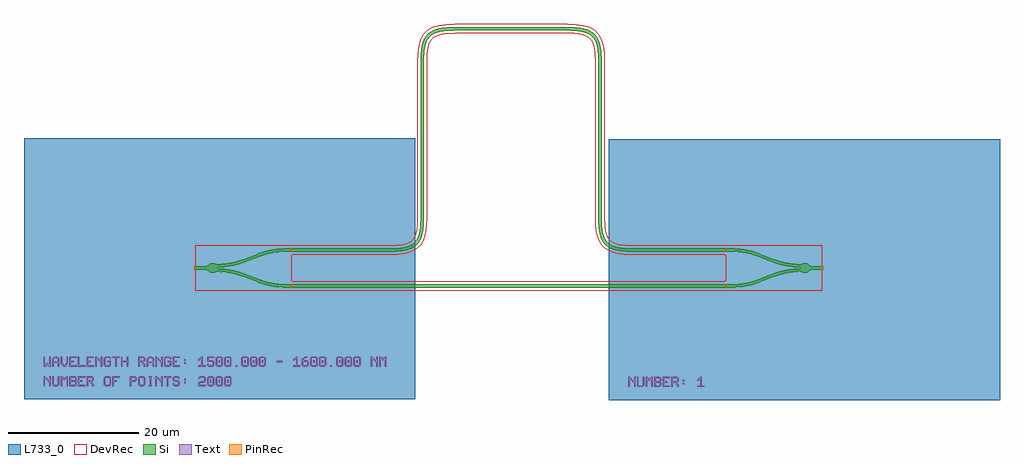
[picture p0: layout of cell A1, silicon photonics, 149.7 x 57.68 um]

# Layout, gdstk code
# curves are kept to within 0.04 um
from math import pi, radians
import gdstk
lib = gdstk.Library(unit=1e-6, precision=1e-09)
def R(c, l, rs):  # rectangles x0, y0, x1, y1
    for r in rs: c.add(gdstk.rectangle(r[:2], r[2:], *l))
def A(c, l, x, y, w, h, nx, ny, dx, dy):  # array of equal rectangles
    R(c, l, [(x+i*dx, y+j*dy, x+i*dx+w, y+j*dy+h) for i in range(nx) for j in range(ny)])
def P(c, l, *ps):  # polygons
    for p in ps: c.add(gdstk.Polygon(p, *l))
Si = (1, 0)
PinRec = (1, 10)
Text = (10, 0)
DevRec = (68, 0)
L733_0 = (733, 0)

ybranch_compact = lib.new_cell('YBranch_Compact')
R(ybranch_compact, Si, [(14,-3,14.9,-2.5), (0.1,-0.25,1.5,0.25), (14,2.5,14.9,3)])
P(ybranch_compact, Si, [(13.958,-3),(13.737,-2.997),(13.737,-2.497),(14,-2.5),(14,-3)],
  [(12.533,-2.908),(11.09,-2.634),(9.765,-2.21),(9.945,-1.744),(11.231,-2.154),(12.533,-2.404)],
  [(13.733,-2.997),(12.533,-2.908),(12.533,-2.404),(13.737,-2.497)],
  [(9.765,-2.21),(7.555,-1.356),(7.735,-0.89),(9.945,-1.744)],
  [(6.738,-1.076),(5.166,-0.724),(3.5,-0.6),(3.5,-0.1),(5.119,-0.212),(6.738,-0.555)],
  [(7.555,-1.356),(6.738,-1.076),(6.738,-0.555),(7.735,-0.89)],
  [(13.737,2.497),(13.737,2.997),(14,3),(14,2.5)],
  [(9.945,1.744),(9.767,2.211),(11.09,2.634),(12.533,2.908),(12.533,2.404),(11.231,2.154)],
  [(12.533,2.404),(12.533,2.908),(13.737,2.997),(13.737,2.497)],
  [(7.735,0.89),(7.555,1.356),(9.765,2.21),(9.945,1.744)],
  [(3.5,0.1),(3.5,0.6),(5.166,0.724),(6.738,1.076),(6.738,0.555),(5.119,0.212)],
  [(6.738,0.555),(6.738,1.076),(7.555,1.356),(7.735,0.89)],
  [(2.378,-0.662),(2.058,-0.374),(1.692,-0.255),(1.5,-0.25),(1.5,0.25),(1.683,0.253),(2.058,0.374),(2.378,0.662)],
  [(2.543,-0.703),(2.378,-0.662),(2.378,0.662),(2.962,0.703),(3.5,0.6),(3.5,-0.6),(2.991,-0.701)])
ybranch_compact.add(gdstk.Label('Ref: Y Zhang, Opt. Express, 21/1, 2013', (0,-1), layer=10, texttype=0))

ebeam_y_1550 = lib.new_cell('ebeam_y_1550')
R(ebeam_y_1550, DevRec, [(-7.4,-3.5,7.4,3.5)])
ebeam_y_1550.add(gdstk.FlexPath([(7.3,2.75),(7.5,2.75)], 0.5, ends="flush", simple_path=True, layer=1, datatype=10))  # PinRec
ebeam_y_1550.add(gdstk.FlexPath([(7.3,-2.75),(7.5,-2.75)], 0.5, ends="flush", simple_path=True, layer=1, datatype=10))  # PinRec
ebeam_y_1550.add(gdstk.FlexPath([(-7.3,0),(-7.5,0)], 0.5, ends="flush", simple_path=True, layer=1, datatype=10))  # PinRec
ebeam_y_1550.add(gdstk.Reference(ybranch_compact, (-7.5,0)))
ebeam_y_1550.add(gdstk.Label('pin2', (7.4,2.75), layer=1, texttype=10))
ebeam_y_1550.add(gdstk.Label('pin3', (7.4,-2.75), layer=1, texttype=10))
ebeam_y_1550.add(gdstk.Label('pin1', (-7.4,0), layer=1, texttype=10))
ebeam_y_1550.add(gdstk.Label('Component=ebeam_y_1550', (-6,1.5), layer=68, texttype=0))
ebeam_y_1550.add(gdstk.Label('Lumerical_INTERCONNECT_library=Design kits/ebeam', (-6.86,-2.19), layer=68, texttype=0))

waveguide = lib.new_cell('Waveguide')
R(waveguide, Si, [(2433.08,3497.28,2499.7,3497.78)])
R(waveguide, DevRec, [(2433.08,3496.78,2499.7,3498.28)])
waveguide.add(gdstk.FlexPath([(2433.13,3497.53),(2433.03,3497.53)], 0.5, ends="flush", simple_path=True, layer=1, datatype=10))  # PinRec
waveguide.add(gdstk.FlexPath([(2499.65,3497.53),(2499.75,3497.53)], 0.5, ends="flush", simple_path=True, layer=1, datatype=10))  # PinRec
waveguide.add(gdstk.Label('pin1', (2433.08,3497.53), layer=1, texttype=10))
waveguide.add(gdstk.Label('pin2', (2499.7,3497.53), layer=1, texttype=10))
waveguide.add(gdstk.Label('Lumerical_INTERCONNECT_library=Design kits/ebeam', (2433.08,3497.53), layer=68, texttype=0))
waveguide.add(gdstk.Label('Component=ebeam_wg_integral_1550', (2433.08,3498.03), layer=68, texttype=0))
waveguide.add(gdstk.Label('Spice_param:wg_length=66.620u wg_width=0.500u points="[[2433.08,3497.53],[2499.7,3497.53]]" radius=5.0', (2433.08,3497.03), layer=68, texttype=0))

waveguide_1 = lib.new_cell('Waveguide$1')
P(waveguide_1, Si, [(2433.08,3502.78),(2433.08,3503.28),(2448.239,3503.28),(2449.424,3503.326),(2450.473,3503.478),(2451.162,3503.694),(2451.748,3504.034),(2452.186,3504.495),(2452.455,3504.987),(2452.671,3505.676),(2452.796,3506.438),(2452.862,3507.453),(2452.87,3532.081),(2452.902,3533.098),(2453.028,3534.165),(2453.239,3534.978),(2453.526,3535.599),(2453.917,3536.111),(2454.48,3536.553),(2455.101,3536.84),(2455.914,3537.051),(2456.981,3537.177),(2458.117,3537.21),(2476.194,3537.195),(2477.219,3537.11),(2478.089,3536.938),(2478.825,3536.66),(2479.373,3536.304),(2479.854,3535.783),(2480.233,3535.055),(2480.471,3534.166),(2480.597,3533.099),(2480.637,3507.454),(2480.703,3506.439),(2480.828,3505.677),(2480.994,3505.112),(2481.247,3504.596),(2481.706,3504.071),(2482.337,3503.695),(2483.183,3503.446),(2484.173,3503.319),(2499.7,3503.28),(2499.7,3502.78),(2484.455,3502.801),(2483.174,3502.939),(2482.141,3503.235),(2481.386,3503.687),(2480.825,3504.328),(2480.526,3504.936),(2480.34,3505.567),(2480.196,3506.484),(2480.137,3507.44),(2480.109,3532.859),(2479.995,3533.992),(2479.788,3534.815),(2479.479,3535.446),(2479.053,3535.92),(2478.542,3536.242),(2477.957,3536.456),(2477.151,3536.614),(2476.174,3536.695),(2458.12,3536.71),(2456.913,3536.671),(2456.088,3536.575),(2455.401,3536.414),(2454.736,3536.123),(2454.277,3535.763),(2453.925,3535.29),(2453.665,3534.678),(2453.504,3533.991),(2453.37,3532.079),(2453.362,3507.439),(2453.281,3506.286),(2453.139,3505.481),(2452.915,3504.791),(2452.551,3504.148),(2452.001,3503.598),(2451.287,3503.205),(2450.325,3502.938),(2449.258,3502.812)])
P(waveguide_1, DevRec, [(2433.08,3502.28),(2433.08,3503.78),(2449.287,3503.817),(2450.218,3503.936),(2450.914,3504.133),(2451.403,3504.4),(2451.749,3504.746),(2452.016,3505.235),(2452.213,3505.931),(2452.332,3506.862),(2452.37,3508.03),(2452.37,3531.961),(2452.411,3533.241),(2452.554,3534.35),(2452.831,3535.314),(2453.286,3536.139),(2453.94,3536.793),(2454.765,3537.248),(2455.729,3537.525),(2456.838,3537.668),(2458.095,3537.71),(2476.661,3537.669),(2477.77,3537.526),(2478.734,3537.249),(2479.559,3536.794),(2480.213,3536.14),(2480.668,3535.315),(2480.945,3534.351),(2481.088,3533.242),(2481.13,3508.031),(2481.167,3506.863),(2481.286,3505.932),(2481.483,3505.236),(2481.75,3504.747),(2482.096,3504.401),(2482.585,3504.134),(2483.281,3503.937),(2484.212,3503.818),(2499.7,3503.78),(2499.7,3502.28),(2485.355,3502.28),(2484.098,3502.322),(2482.989,3502.465),(2482.025,3502.742),(2481.2,3503.197),(2480.546,3503.851),(2480.091,3504.676),(2479.814,3505.64),(2479.671,3506.749),(2479.592,3533.128),(2479.473,3534.059),(2479.276,3534.755),(2479.009,3535.244),(2478.663,3535.59),(2478.174,3535.857),(2477.478,3536.054),(2476.547,3536.173),(2475.378,3536.21),(2458.12,3536.21),(2456.952,3536.172),(2456.021,3536.053),(2455.325,3535.856),(2454.836,3535.589),(2454.49,3535.243),(2454.223,3534.754),(2454.026,3534.058),(2453.907,3533.127),(2453.87,3531.959),(2453.828,3506.748),(2453.685,3505.639),(2453.408,3504.675),(2452.953,3503.85),(2452.299,3503.196),(2451.474,3502.741),(2450.51,3502.464),(2449.401,3502.321)])
waveguide_1.add(gdstk.FlexPath([(2433.13,3503.03),(2433.03,3503.03)], 0.5, ends="flush", simple_path=True, layer=1, datatype=10))  # PinRec
waveguide_1.add(gdstk.FlexPath([(2499.65,3503.03),(2499.75,3503.03)], 0.5, ends="flush", simple_path=True, layer=1, datatype=10))  # PinRec
waveguide_1.add(gdstk.Label('pin1', (2433.08,3503.03), layer=1, texttype=10))
waveguide_1.add(gdstk.Label('pin2', (2499.7,3503.03), layer=1, texttype=10))
waveguide_1.add(gdstk.Label('Lumerical_INTERCONNECT_library=Design kits/ebeam', (2433.08,3503.03), layer=68, texttype=0))
waveguide_1.add(gdstk.Label('Component=ebeam_wg_integral_1550', (2433.08,3503.53), layer=68, texttype=0))
waveguide_1.add(gdstk.Label('Spice_param:wg_length=128.284u wg_width=0.500u points="[[2433.08,3503.03],[2453.12,3503.03],[2453.12,3536.96],[2480.38,3536.96],[2480.38,3503.03],[2499.7,3503.03]]" radius=5.0', (2433.08,3502.53), layer=68, texttype=0))

text = lib.new_cell('TEXT')
A(text, Text, 25.52, 0.55, 0.22, 0.44, 3, 1, 1.32, 0)
R(text, Text, [(21.56,0.44,21.78,0.66), (21.56,0.88,21.78,1.1)])
P(text, Text, [(0,0),(0,1.54),(0.22,1.54),(0.77,0.99),(0.88,0.99),(0.88,1.54),(1.1,1.54),(1.1,0),(0.88,0),(0.88,0.55),(0.33,1.1),(0.22,1.1),(0.22,0)],
  [(1.54,0),(1.32,0.22),(1.32,1.54),(1.54,1.54),(1.54,0.33),(1.65,0.22),(2.09,0.22),(2.2,0.33),(2.2,1.54),(2.42,1.54),(2.42,0.22),(2.2,0)],
  [(2.64,0),(2.64,1.54),(2.86,1.54),(3.08,1.32),(3.3,1.32),(3.52,1.54),(3.74,1.54),(3.74,0),(3.52,0),(3.52,1.1),(3.41,1.1),(3.19,0.88),(2.97,1.1),(2.86,1.1),(2.86,0)],
  [(3.96,0),(3.96,1.54),(4.84,1.54),(5.06,1.32),(4.18,1.32),(4.18,0.88),(4.73,0.88),(4.84,0.99),(4.84,1.21),(4.73,1.32),(5.06,1.32),(5.06,0.88),(4.95,0.77),(5.06,0.66),(4.18,0.66),(4.18,0.22),(4.73,0.22),(4.84,0.33),(4.84,0.55),(4.73,0.66),(5.06,0.66),(5.06,0.22),(4.84,0)],
  [(5.28,0),(5.28,1.54),(6.38,1.54),(6.38,1.32),(5.5,1.32),(5.5,0.88),(5.94,0.88),(5.94,0.66),(5.5,0.66),(5.5,0.22),(6.38,0.22),(6.38,0)],
  [(6.6,0),(6.6,1.54),(7.48,1.54),(7.7,1.32),(6.82,1.32),(6.82,0.88),(7.37,0.88),(7.48,0.99),(7.48,1.21),(7.37,1.32),(7.7,1.32),(7.7,0.88),(7.48,0.66),(7.48,0.55),(7.7,0.33),(7.7,0),(7.48,0),(7.48,0.22),(7.04,0.66),(6.82,0.66),(6.82,0)],
  [(9.46,0),(9.24,0.22),(9.24,1.32),(9.46,1.54),(10.12,1.54),(10.34,1.32),(10.34,0.77),(10.12,0.77),(10.12,1.21),(10.01,1.32),(9.57,1.32),(9.46,1.21),(9.46,0.33),(9.57,0.22),(10.01,0.22),(10.12,0.33),(10.12,0.77),(10.34,0.77),(10.34,0.22),(10.12,0)],
  [(10.56,0),(10.56,1.54),(11.66,1.54),(11.66,1.32),(10.78,1.32),(10.78,0.88),(11.22,0.88),(11.22,0.66),(10.78,0.66),(10.78,0)],
  [(13.2,0),(13.2,1.54),(14.08,1.54),(14.3,1.32),(14.3,0.88),(14.08,0.66),(13.42,0.66),(13.42,0.88),(13.97,0.88),(14.08,0.99),(14.08,1.21),(13.97,1.32),(13.42,1.32),(13.42,0)],
  [(14.74,0),(14.52,0.22),(14.52,1.32),(14.74,1.54),(15.4,1.54),(15.62,1.32),(15.62,0.77),(15.4,0.77),(15.4,1.21),(15.29,1.32),(14.85,1.32),(14.74,1.21),(14.74,0.33),(14.85,0.22),(15.29,0.22),(15.4,0.33),(15.4,0.77),(15.62,0.77),(15.62,0.22),(15.4,0)],
  [(16.17,0),(16.17,0.22),(16.28,0.22),(16.28,1.32),(16.17,1.32),(16.17,1.54),(16.61,1.54),(16.61,1.32),(16.5,1.32),(16.5,0.22),(16.61,0.22),(16.61,0)],
  [(17.16,0),(17.16,1.54),(17.38,1.54),(17.93,0.99),(18.04,0.99),(18.04,1.54),(18.26,1.54),(18.26,0),(18.04,0),(18.04,0.55),(17.49,1.1),(17.38,1.1),(17.38,0)],
  [(18.92,0),(18.92,1.32),(18.48,1.32),(18.48,1.54),(19.58,1.54),(19.58,1.32),(19.14,1.32),(19.14,0)],
  [(20.02,0),(19.8,0.22),(19.8,0.44),(20.02,0.44),(20.02,0.33),(20.13,0.22),(20.57,0.22),(20.68,0.33),(20.68,0.55),(20.57,0.66),(20.02,0.66),(19.8,0.88),(19.8,1.32),(20.02,1.54),(20.68,1.54),(20.9,1.32),(20.9,1.1),(20.68,1.1),(20.68,1.21),(20.57,1.32),(20.13,1.32),(20.02,1.21),(20.02,0.99),(20.13,0.88),(20.68,0.88),(20.9,0.66),(20.9,0.22),(20.68,0)],
  [(23.76,0),(23.76,0.55),(23.98,0.77),(24.53,0.77),(24.64,0.88),(24.64,1.21),(24.53,1.32),(24.09,1.32),(23.98,1.21),(23.98,1.1),(23.76,1.1),(23.76,1.32),(23.98,1.54),(24.64,1.54),(24.86,1.32),(24.86,0.77),(24.64,0.55),(24.09,0.55),(23.98,0.44),(23.98,0.22),(24.86,0.22),(24.86,0)],
  [(25.3,0),(25.08,0.22),(25.08,1.32),(25.3,1.54),(25.96,1.54),(26.18,1.32),(25.41,1.32),(25.3,1.21),(25.3,0.33),(25.41,0.22),(25.85,0.22),(25.96,0.33),(25.96,1.21),(25.85,1.32),(26.18,1.32),(26.18,0.22),(25.96,0)],
  [(26.62,0),(26.4,0.22),(26.4,1.32),(26.62,1.54),(27.28,1.54),(27.5,1.32),(26.73,1.32),(26.62,1.21),(26.62,0.33),(26.73,0.22),(27.17,0.22),(27.28,0.33),(27.28,1.21),(27.17,1.32),(27.5,1.32),(27.5,0.22),(27.28,0)],
  [(27.94,0),(27.72,0.22),(27.72,1.32),(27.94,1.54),(28.6,1.54),(28.82,1.32),(28.05,1.32),(27.94,1.21),(27.94,0.33),(28.05,0.22),(28.49,0.22),(28.6,0.33),(28.6,1.21),(28.49,1.32),(28.82,1.32),(28.82,0.22),(28.6,0)])

text_1 = lib.new_cell('TEXT$1')
A(text_1, Text, 30.8, 0.55, 0.22, 0.44, 3, 1, 1.32, 0)
A(text_1, Text, 45.32, 0.55, 0.22, 0.44, 3, 1, 1.32, 0)
R(text_1, Text, [(29.48,0,29.7,0.22), (44,0,44.22,0.22), (21.56,0.44,21.78,0.66), (26.84,0.55,27.06,0.99), (28.16,0.55,28.38,0.99), (41.36,0.55,41.58,0.99), (42.68,0.55,42.9,0.99), (35.75,0.66,36.63,0.88), (21.56,0.88,21.78,1.1)])
P(text_1, Text, [(0,0),(0,1.54),(0.22,1.54),(0.22,0.33),(0.33,0.33),(0.55,0.55),(0.77,0.33),(0.88,0.33),(0.88,1.54),(1.1,1.54),(1.1,0),(0.77,0),(0.55,0.22),(0.33,0)],
  [(1.32,0),(1.32,1.21),(1.65,1.54),(2.09,1.54),(2.31,1.32),(1.76,1.32),(1.54,1.1),(1.54,0.77),(2.2,0.77),(2.2,1.1),(1.98,1.32),(2.31,1.32),(2.42,1.21),(2.42,0),(2.2,0),(2.2,0.55),(1.54,0.55),(1.54,0)],
  [(3.08,0),(2.64,0.44),(2.64,1.54),(2.86,1.54),(2.86,0.55),(3.19,0.22),(3.52,0.55),(3.52,1.54),(3.74,1.54),(3.74,0.44),(3.3,0)],
  [(3.96,0),(3.96,1.54),(5.06,1.54),(5.06,1.32),(4.18,1.32),(4.18,0.88),(4.62,0.88),(4.62,0.66),(4.18,0.66),(4.18,0.22),(5.06,0.22),(5.06,0)],
  [(5.28,0),(5.28,1.54),(5.5,1.54),(5.5,0.22),(6.38,0.22),(6.38,0)],
  [(6.6,0),(6.6,1.54),(7.7,1.54),(7.7,1.32),(6.82,1.32),(6.82,0.88),(7.26,0.88),(7.26,0.66),(6.82,0.66),(6.82,0.22),(7.7,0.22),(7.7,0)],
  [(7.92,0),(7.92,1.54),(8.14,1.54),(8.69,0.99),(8.8,0.99),(8.8,1.54),(9.02,1.54),(9.02,0),(8.8,0),(8.8,0.55),(8.25,1.1),(8.14,1.1),(8.14,0)],
  [(9.46,0),(9.24,0.22),(9.24,1.32),(9.46,1.54),(10.12,1.54),(10.34,1.32),(10.34,1.1),(10.12,1.1),(10.12,1.21),(10.01,1.32),(9.57,1.32),(9.46,1.21),(9.46,0.33),(9.57,0.22),(10.01,0.22),(10.12,0.33),(10.12,0.66),(9.79,0.66),(9.79,0.88),(10.34,0.88),(10.34,0.22),(10.12,0)],
  [(11,0),(11,1.32),(10.56,1.32),(10.56,1.54),(11.66,1.54),(11.66,1.32),(11.22,1.32),(11.22,0)],
  [(11.88,0),(11.88,1.54),(12.1,1.54),(12.1,0.88),(12.76,0.88),(12.76,1.54),(12.98,1.54),(12.98,0),(12.76,0),(12.76,0.66),(12.1,0.66),(12.1,0)],
  [(14.52,0),(14.52,1.54),(15.4,1.54),(15.62,1.32),(14.74,1.32),(14.74,0.88),(15.29,0.88),(15.4,0.99),(15.4,1.21),(15.29,1.32),(15.62,1.32),(15.62,0.88),(15.4,0.66),(15.4,0.55),(15.62,0.33),(15.62,0),(15.4,0),(15.4,0.22),(14.96,0.66),(14.74,0.66),(14.74,0)],
  [(15.84,0),(15.84,1.21),(16.17,1.54),(16.61,1.54),(16.83,1.32),(16.28,1.32),(16.06,1.1),(16.06,0.77),(16.72,0.77),(16.72,1.1),(16.5,1.32),(16.83,1.32),(16.94,1.21),(16.94,0),(16.72,0),(16.72,0.55),(16.06,0.55),(16.06,0)],
  [(17.16,0),(17.16,1.54),(17.38,1.54),(17.93,0.99),(18.04,0.99),(18.04,1.54),(18.26,1.54),(18.26,0),(18.04,0),(18.04,0.55),(17.49,1.1),(17.38,1.1),(17.38,0)],
  [(18.7,0),(18.48,0.22),(18.48,1.32),(18.7,1.54),(19.36,1.54),(19.58,1.32),(19.58,1.1),(19.36,1.1),(19.36,1.21),(19.25,1.32),(18.81,1.32),(18.7,1.21),(18.7,0.33),(18.81,0.22),(19.25,0.22),(19.36,0.33),(19.36,0.66),(19.03,0.66),(19.03,0.88),(19.58,0.88),(19.58,0.22),(19.36,0)],
  [(19.8,0),(19.8,1.54),(20.9,1.54),(20.9,1.32),(20.02,1.32),(20.02,0.88),(20.46,0.88),(20.46,0.66),(20.02,0.66),(20.02,0.22),(20.9,0.22),(20.9,0)],
  [(23.76,0),(23.76,0.22),(24.2,0.22),(24.2,1.1),(24.09,1.1),(23.87,0.88),(23.76,0.88),(23.76,1.1),(24.2,1.54),(24.42,1.54),(24.42,0.22),(24.86,0.22),(24.86,0)],
  [(25.3,0),(25.08,0.22),(25.08,0.44),(25.3,0.44),(25.3,0.33),(25.41,0.22),(25.85,0.22),(25.96,0.33),(25.96,0.66),(25.85,0.77),(25.08,0.77),(25.08,1.54),(26.18,1.54),(26.18,1.32),(25.3,1.32),(25.3,0.99),(25.96,0.99),(26.18,0.77),(26.18,0.22),(25.96,0)],
  [(26.62,0),(26.4,0.22),(26.4,1.32),(26.62,1.54),(27.28,1.54),(27.5,1.32),(26.73,1.32),(26.62,1.21),(26.62,0.33),(26.73,0.22),(27.17,0.22),(27.28,0.33),(27.28,1.21),(27.17,1.32),(27.5,1.32),(27.5,0.22),(27.28,0)],
  [(27.94,0),(27.72,0.22),(27.72,1.32),(27.94,1.54),(28.6,1.54),(28.82,1.32),(28.05,1.32),(27.94,1.21),(27.94,0.33),(28.05,0.22),(28.49,0.22),(28.6,0.33),(28.6,1.21),(28.49,1.32),(28.82,1.32),(28.82,0.22),(28.6,0)],
  [(30.58,0),(30.36,0.22),(30.36,1.32),(30.58,1.54),(31.24,1.54),(31.46,1.32),(30.69,1.32),(30.58,1.21),(30.58,0.33),(30.69,0.22),(31.13,0.22),(31.24,0.33),(31.24,1.21),(31.13,1.32),(31.46,1.32),(31.46,0.22),(31.24,0)],
  [(31.9,0),(31.68,0.22),(31.68,1.32),(31.9,1.54),(32.56,1.54),(32.78,1.32),(32.01,1.32),(31.9,1.21),(31.9,0.33),(32.01,0.22),(32.45,0.22),(32.56,0.33),(32.56,1.21),(32.45,1.32),(32.78,1.32),(32.78,0.22),(32.56,0)],
  [(33.22,0),(33,0.22),(33,1.32),(33.22,1.54),(33.88,1.54),(34.1,1.32),(33.33,1.32),(33.22,1.21),(33.22,0.33),(33.33,0.22),(33.77,0.22),(33.88,0.33),(33.88,1.21),(33.77,1.32),(34.1,1.32),(34.1,0.22),(33.88,0)],
  [(38.28,0),(38.28,0.22),(38.72,0.22),(38.72,1.1),(38.61,1.1),(38.39,0.88),(38.28,0.88),(38.28,1.1),(38.72,1.54),(38.94,1.54),(38.94,0.22),(39.38,0.22),(39.38,0)],
  [(39.82,0),(39.6,0.22),(39.6,1.1),(40.04,1.54),(40.48,1.54),(40.48,1.32),(40.15,1.32),(39.93,1.1),(39.93,0.99),(40.48,0.99),(40.7,0.77),(39.93,0.77),(39.82,0.66),(39.82,0.33),(39.93,0.22),(40.37,0.22),(40.48,0.33),(40.48,0.66),(40.37,0.77),(40.7,0.77),(40.7,0.22),(40.48,0)],
  [(41.14,0),(40.92,0.22),(40.92,1.32),(41.14,1.54),(41.8,1.54),(42.02,1.32),(41.25,1.32),(41.14,1.21),(41.14,0.33),(41.25,0.22),(41.69,0.22),(41.8,0.33),(41.8,1.21),(41.69,1.32),(42.02,1.32),(42.02,0.22),(41.8,0)],
  [(42.46,0),(42.24,0.22),(42.24,1.32),(42.46,1.54),(43.12,1.54),(43.34,1.32),(42.57,1.32),(42.46,1.21),(42.46,0.33),(42.57,0.22),(43.01,0.22),(43.12,0.33),(43.12,1.21),(43.01,1.32),(43.34,1.32),(43.34,0.22),(43.12,0)],
  [(45.1,0),(44.88,0.22),(44.88,1.32),(45.1,1.54),(45.76,1.54),(45.98,1.32),(45.21,1.32),(45.1,1.21),(45.1,0.33),(45.21,0.22),(45.65,0.22),(45.76,0.33),(45.76,1.21),(45.65,1.32),(45.98,1.32),(45.98,0.22),(45.76,0)],
  [(46.42,0),(46.2,0.22),(46.2,1.32),(46.42,1.54),(47.08,1.54),(47.3,1.32),(46.53,1.32),(46.42,1.21),(46.42,0.33),(46.53,0.22),(46.97,0.22),(47.08,0.33),(47.08,1.21),(46.97,1.32),(47.3,1.32),(47.3,0.22),(47.08,0)],
  [(47.74,0),(47.52,0.22),(47.52,1.32),(47.74,1.54),(48.4,1.54),(48.62,1.32),(47.85,1.32),(47.74,1.21),(47.74,0.33),(47.85,0.22),(48.29,0.22),(48.4,0.33),(48.4,1.21),(48.29,1.32),(48.62,1.32),(48.62,0.22),(48.4,0)],
  [(50.16,0),(50.16,1.54),(50.38,1.54),(50.93,0.99),(51.04,0.99),(51.04,1.54),(51.26,1.54),(51.26,0),(51.04,0),(51.04,0.55),(50.49,1.1),(50.38,1.1),(50.38,0)],
  [(51.48,0),(51.48,1.54),(51.7,1.54),(51.92,1.32),(52.14,1.32),(52.36,1.54),(52.58,1.54),(52.58,0),(52.36,0),(52.36,1.1),(52.25,1.1),(52.03,0.88),(51.81,1.1),(51.7,1.1),(51.7,0)])

lumerical_interconnect_l = lib.new_cell('Lumerical_INTERCONNECT_Laser')
R(lumerical_interconnect_l, L733_0, [(-30,-20,30,20)])
lumerical_interconnect_l.add(gdstk.Reference(text, (-27,-18)))
lumerical_interconnect_l.add(gdstk.Reference(text_1, (-27,-15)))
lumerical_interconnect_l.add(gdstk.Label('Tunable Laser', (-27,16), layer=733, texttype=0))
lumerical_interconnect_l.add(gdstk.Label('Wavelength range: 1500.000 - 1600.000 nm', (-27,12), layer=733, texttype=0))
lumerical_interconnect_l.add(gdstk.Label('Number of points: 2000', (-27,8), layer=733, texttype=0))
lumerical_interconnect_l.add(gdstk.Label('Ignore optical IOs in simulations: 0', (-27,4), layer=733, texttype=0))

text_2 = lib.new_cell('TEXT$2')
R(text_2, Text, [(8.36,0.44,8.58,0.66), (8.36,0.88,8.58,1.1)])
P(text_2, Text, [(0,0),(0,1.54),(0.22,1.54),(0.77,0.99),(0.88,0.99),(0.88,1.54),(1.1,1.54),(1.1,0),(0.88,0),(0.88,0.55),(0.33,1.1),(0.22,1.1),(0.22,0)],
  [(1.54,0),(1.32,0.22),(1.32,1.54),(1.54,1.54),(1.54,0.33),(1.65,0.22),(2.09,0.22),(2.2,0.33),(2.2,1.54),(2.42,1.54),(2.42,0.22),(2.2,0)],
  [(2.64,0),(2.64,1.54),(2.86,1.54),(3.08,1.32),(3.3,1.32),(3.52,1.54),(3.74,1.54),(3.74,0),(3.52,0),(3.52,1.1),(3.41,1.1),(3.19,0.88),(2.97,1.1),(2.86,1.1),(2.86,0)],
  [(3.96,0),(3.96,1.54),(4.84,1.54),(5.06,1.32),(4.18,1.32),(4.18,0.88),(4.73,0.88),(4.84,0.99),(4.84,1.21),(4.73,1.32),(5.06,1.32),(5.06,0.88),(4.95,0.77),(5.06,0.66),(4.18,0.66),(4.18,0.22),(4.73,0.22),(4.84,0.33),(4.84,0.55),(4.73,0.66),(5.06,0.66),(5.06,0.22),(4.84,0)],
  [(5.28,0),(5.28,1.54),(6.38,1.54),(6.38,1.32),(5.5,1.32),(5.5,0.88),(5.94,0.88),(5.94,0.66),(5.5,0.66),(5.5,0.22),(6.38,0.22),(6.38,0)],
  [(6.6,0),(6.6,1.54),(7.48,1.54),(7.7,1.32),(6.82,1.32),(6.82,0.88),(7.37,0.88),(7.48,0.99),(7.48,1.21),(7.37,1.32),(7.7,1.32),(7.7,0.88),(7.48,0.66),(7.48,0.55),(7.7,0.33),(7.7,0),(7.48,0),(7.48,0.22),(7.04,0.66),(6.82,0.66),(6.82,0)],
  [(10.56,0),(10.56,0.22),(11,0.22),(11,1.1),(10.89,1.1),(10.67,0.88),(10.56,0.88),(10.56,1.1),(11,1.54),(11.22,1.54),(11.22,0.22),(11.66,0.22),(11.66,0)])

lumerical_interconnect_d = lib.new_cell('Lumerical_INTERCONNECT_Detector')
R(lumerical_interconnect_d, L733_0, [(-30,-20,30,20)])
lumerical_interconnect_d.add(gdstk.Reference(text_2, (-27,-18)))
lumerical_interconnect_d.add(gdstk.Label('Detector', (-27,16), layer=733, texttype=0))
lumerical_interconnect_d.add(gdstk.Label('Detector Number: 1', (-27,12), layer=733, texttype=0))
lumerical_interconnect_d.add(gdstk.Label('LumericalINTERCONNECT_Detector 1', (0,0), layer=733, texttype=0))

c_a1 = lib.new_cell('A1')
c_a1.add(gdstk.Reference(ebeam_y_1550, (2425.68,3500.28)))
c_a1.add(gdstk.Reference(ebeam_y_1550, (2507.1,3500.28), rotation=pi))
c_a1.add(gdstk.Reference(waveguide, (0,0)))
c_a1.add(gdstk.Reference(waveguide_1, (0,0)))
c_a1.add(gdstk.Reference(lumerical_interconnect_l, (2422.04,3500.16)))
c_a1.add(gdstk.Reference(lumerical_interconnect_d, (2511.74,3500.03)))

lib.write_gds('A1.gds')
